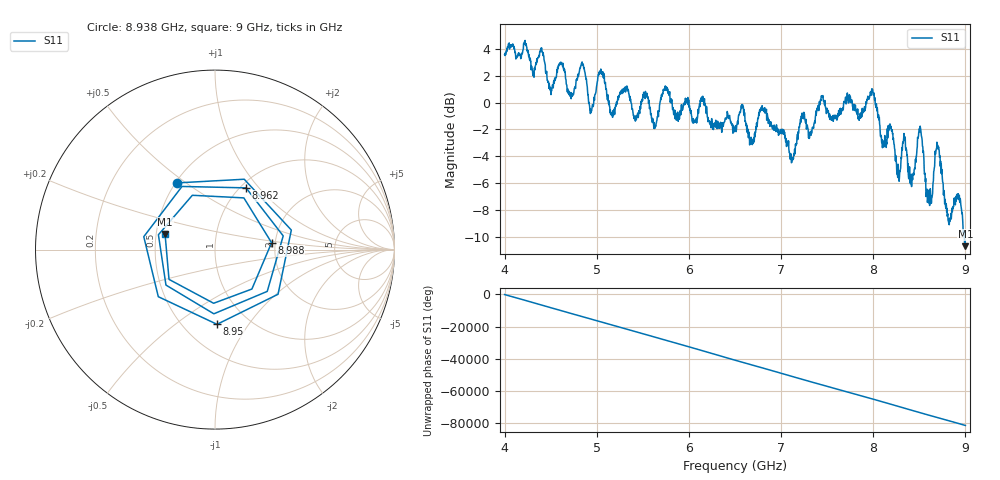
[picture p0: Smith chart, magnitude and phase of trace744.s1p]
! Created with skrf 1.8.0 (http://scikit-rf.org).
# Hz S RI R 50.0
!freq ReS11 ImS11
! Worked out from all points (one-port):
!   1601 points, 4 GHz to 9 GHz, reference 50 ohm
!   lowest |S11| = -10.7 dB at 9 GHz (marker M1), VSWR 1.82, Z = 27.9 + j5.27 ohm
!   |S11| at or under -10 dB: 8.988228 GHz to end of sweep
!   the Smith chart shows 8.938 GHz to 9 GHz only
!   S11 on the Smith chart (normalised r, x): 8.938 GHz: 0.51, +0.46; 8.95 GHz: 0.72, -0.72; 8.962 GHz: 1.06, +0.86; 8.988 GHz: 1.91, +0.16; 9 GHz: 0.56, +0.11
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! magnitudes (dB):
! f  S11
! 4 GHz  3.6
! 4.4 GHz  4.1
! 4.503 GHz  0.6
! 4.625 GHz  2.9
! 4.725 GHz  0.5
! 4.85 GHz  2.9
! 4.938 GHz  -0.7
! 5.041 GHz  2.2
! 5.162 GHz  -0.9
! 5.25 GHz  0.7
! 5.875 GHz  -1.1
! 6.5 GHz  -1.8
! 6.806 GHz  -0.5
! 7.125 GHz  -4.3
! 7.231 GHz  -0.9
! 7.75 GHz  0.5
! 7.994 GHz  1.0
! 8.103 GHz  -2.8
! 8.375 GHz  -5.1
! 8.506 GHz  -2.2
! 8.597 GHz  -6.7
! 8.697 GHz  -3.2
! 8.812 GHz  -8.8
! 8.938 GHz  -7.4
! 8.95 GHz  -7.6
! 8.962 GHz  -8.3
! 8.988 GHz  -10.0
! 9 GHz  -10.7
